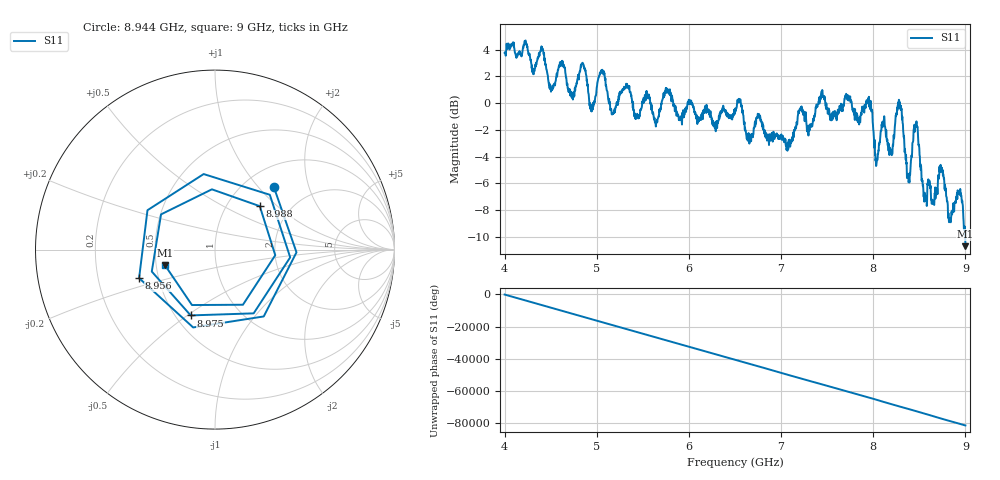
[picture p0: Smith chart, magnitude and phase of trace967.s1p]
! Created with skrf 1.8.0 (http://scikit-rf.org).
# Hz S RI R 50.0
!freq ReS11 ImS11
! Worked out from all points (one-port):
!   1601 points, 4 GHz to 9 GHz, reference 50 ohm
!   lowest |S11| = -10.7 dB at 9 GHz (marker M1), VSWR 1.82, Z = 27.9 - j5.33 ohm
!   |S11| at or under -10 dB: 8.998237 GHz to end of sweep
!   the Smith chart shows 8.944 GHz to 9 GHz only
!   S11 on the Smith chart (normalised r, x): 8.944 GHz: 1.35, +1.21; 8.956 GHz: 0.39, -0.16; 8.975 GHz: 0.60, -0.52; 8.988 GHz: 1.41, +0.78; 9 GHz: 0.56, -0.11
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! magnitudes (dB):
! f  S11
! 4 GHz  3.8
! 4.403 GHz  4.1
! 4.506 GHz  1.0
! 4.625 GHz  3.2
! 4.734 GHz  0.5
! 4.853 GHz  2.9
! 4.944 GHz  -0.6
! 5.059 GHz  2.5
! 5.172 GHz  -0.8
! 5.25 GHz  0.6
! 5.875 GHz  -0.8
! 6.5 GHz  -0.8
! 7.125 GHz  -2.8
! 7.75 GHz  0.5
! 7.966 GHz  -0.4
! 8.038 GHz  -4.4
! 8.106 GHz  -1.5
! 8.191 GHz  -3.7
! 8.284 GHz  0.0
! 8.375 GHz  -5.6
! 8.462 GHz  -1.6
! 8.559 GHz  -6.7
! 8.738 GHz  -4.8
! 8.944 GHz  -6.4
! 8.956 GHz  -6.9
! 8.975 GHz  -8.2
! 8.988 GHz  -9.2
! 9 GHz  -10.7
